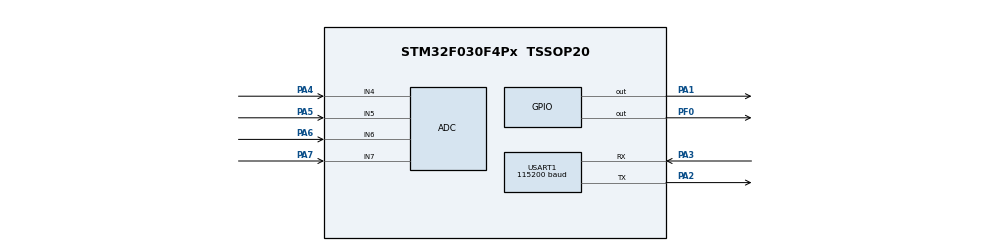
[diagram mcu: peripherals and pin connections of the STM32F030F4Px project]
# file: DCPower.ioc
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ADC.SamplingTime=ADC_SAMPLETIME_239CYCLES_5
Dma.ADC.0.Direction=DMA_PERIPH_TO_MEMORY
Dma.ADC.0.Instance=DMA1_Channel1
Dma.ADC.0.MemDataAlignment=DMA_MDATAALIGN_WORD
Dma.ADC.0.MemInc=DMA_MINC_ENABLE
Dma.ADC.0.Mode=DMA_CIRCULAR
Dma.ADC.0.PeriphDataAlignment=DMA_PDATAALIGN_WORD
Dma.ADC.0.PeriphInc=DMA_PINC_DISABLE
Dma.ADC.0.Priority=DMA_PRIORITY_HIGH
Dma.Request0=ADC
Mcu.Family=STM32F0
Mcu.Name=STM32F030F4Px
Mcu.Package=TSSOP20
NVIC.ADC1_IRQn=true\:0\:0\:false\:false\:true\:true
NVIC.DMA1_Channel1_IRQn=true\:0\:0\:false\:false\:true\:false
NVIC.USART1_IRQn=true\:0\:0\:false\:false\:true\:true
PA1.Signal=GPIO_Output
PA13.Mode=Serial_Wire
PA13.Signal=SYS_SWDIO
PA14.Mode=Serial_Wire
PA14.Signal=SYS_SWCLK
PA2.Mode=Asynchronous
PA2.Signal=USART1_TX
PA3.Mode=Asynchronous
PA3.Signal=USART1_RX
PA4.Mode=IN4
PA4.Signal=ADC_IN4
PA5.Mode=IN5
PA5.Signal=ADC_IN5
PA6.Mode=IN6
PA6.Signal=ADC_IN6
PA7.Mode=IN7
PA7.Signal=ADC_IN7
PF0-OSC_IN.Signal=GPIO_Output
ProjectManager.HeapSize=0x200
ProjectManager.StackSize=0x400
ProjectManager.TargetToolchain=MDK-ARM V5
USART1.BaudRate=115200
USART1.VirtualMode-Asynchronous=VM_ASYNC
VP_IWDG_VS_IWDG.Mode=IWDG_Activate
board=custom

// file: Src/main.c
/* USER CODE BEGIN Header */
/**
  ******************************************************************************
  * @file           : main.c
  * @brief          : Main program body
  ******************************************************************************
  ** This notice applies to any and all portions of this file
  * that are not between comment pairs USER CODE BEGIN and
  * USER CODE END. Other portions of this file, whether
  * inserted by the user or by software development tools
  * are owned by their respective copyright owners.
  *
  * COPYRIGHT(c) 2019 STMicroelectronics
  *
  * Redistribution and use in source and binary forms, with or without modification,
  * are permitted provided that the following conditions are met:
  *   1. Redistributions of source code must retain the above copyright notice,
  *      this list of conditions and the following disclaimer.
  *   2. Redistributions in binary form must reproduce the above copyright notice,
  *      this list of conditions and the following disclaimer in the documentation
  *      and/or other materials provided with the distribution.
  *   3. Neither the name of STMicroelectronics nor the names of its contributors
  *      may be used to endorse or promote products derived from this software
  *      without specific prior written permission.
  *
  * THIS SOFTWARE IS PROVIDED BY THE COPYRIGHT HOLDERS AND CONTRIBUTORS "AS IS"
  * AND ANY EXPRESS OR IMPLIED WARRANTIES, INCLUDING, BUT NOT LIMITED TO, THE
  * IMPLIED WARRANTIES OF MERCHANTABILITY AND FITNESS FOR A PARTICULAR PURPOSE ARE
  * DISCLAIMED. IN NO EVENT SHALL THE COPYRIGHT HOLDER OR CONTRIBUTORS BE LIABLE
  * FOR ANY DIRECT, INDIRECT, INCIDENTAL, SPECIAL, EXEMPLARY, OR CONSEQUENTIAL
  * DAMAGES (INCLUDING, BUT NOT LIMITED TO, PROCUREMENT OF SUBSTITUTE GOODS OR
  * SERVICES; LOSS OF USE, DATA, OR PROFITS; OR BUSINESS INTERRUPTION) HOWEVER
  * CAUSED AND ON ANY THEORY OF LIABILITY, WHETHER IN CONTRACT, STRICT LIABILITY,
  * OR TORT (INCLUDING NEGLIGENCE OR OTHERWISE) ARISING IN ANY WAY OUT OF THE USE
  * OF THIS SOFTWARE, EVEN IF ADVISED OF THE POSSIBILITY OF SUCH DAMAGE.
  *
  ******************************************************************************
  */
/* USER CODE END Header */

#include "main.h"
#include "adc.h"
#include "dma.h"
#include "iwdg.h"
#include "usart.h"
#include "gpio.h"

/* USER CODE BEGIN Includes */
#include "Modbus_svr.h"
#include "SysTick.h"
/* USER CODE END Includes */

/* USER CODE BEGIN PTD */
uint32_t Val[40] ;
uint32_t bAdcFin ;
/* USER CODE END PTD */

/* USER CODE BEGIN PV */
short ValToTemp(short val) ;
/* USER CODE END PV */

void SystemClock_Config(void);

/* USER CODE BEGIN 0 */
void  HAL_ADC_ConvCpltCallback(ADC_HandleTypeDef* hadc)																			//4
{
	mblock1.ptrRegs[10]++ ;
	bAdcFin = 1 ;
}
/* USER CODE END 0 */

int main(void)
{
  /* USER CODE BEGIN 1 */
	uint32_t sum[4] ;
	uint32_t i ;
  /* USER CODE END 1 */

  /* MCU Configuration--------------------------------------------------------*/

  /* Reset of all peripherals, Initializes the Flash interface and the Systick. */
  HAL_Init();

  /* Configure the system clock */
  SystemClock_Config();

  /* Initialize all configured peripherals */
  MX_GPIO_Init();
  MX_DMA_Init();
  MX_ADC_Init();
  MX_IWDG_Init();
  MX_USART1_UART_Init();

  /* USER CODE BEGIN 2 */
	SysTick_Init() ;
	Modbus_init() ;
	SetTimer(0, 200) ;
	SetTimer(1, 1000) ;
	SetTimer(2, 100) ;

	bAdcFin = 0 ;
	HAL_ADC_Start_DMA(&hadc, (uint32_t*)&Val, 40);
  /* USER CODE END 2 */

  /* Infinite loop */
  while (1)
  {

    /* USER CODE BEGIN 3 */
		Modbus_task() ;

		if ( bAdcFin )
		{
			for(i = 0 ; i < 4 ; i++) sum[i] = 0 ;
			for(i = 0 ; i < 40 ; i++)
			{
				sum[i % 4] += Val[i] ;
			}
			for(i = 0 ; i < 4 ; i++) mblock1.ptrRegs[4 - i] = sum[i]/10 ;

			mblock1.ptrRegs[5] = ValToTemp(mblock1.ptrRegs[4]) ;
			bAdcFin = 0 ;
		}

		if ( mblock1.ptrRegs[0] )
		{
			if ( GetTimer(0) ) 	HAL_GPIO_TogglePin(GPIOF,GPIO_PIN_0);
		}
		else
		{
			if ( GetTimer(1) ) HAL_GPIO_TogglePin(GPIOF,GPIO_PIN_0);
		}

		if ( GetTimer(2) )
		{
      HAL_IWDG_Refresh(&hiwdg);

			HAL_ADC_Start_DMA(&hadc, (uint32_t*)&Val, 40);
			if ( mblock1.ptrRegs[0] )
				HAL_GPIO_WritePin(GPIOA, GPIO_PIN_1, GPIO_PIN_SET) ;
			else
				HAL_GPIO_WritePin(GPIOA, GPIO_PIN_1, GPIO_PIN_RESET) ;
		}
  }
  /* USER CODE END 3 */
}

void SystemClock_Config(void)
{
  RCC_OscInitTypeDef RCC_OscInitStruct = {0};
  RCC_ClkInitTypeDef RCC_ClkInitStruct = {0};
  RCC_PeriphCLKInitTypeDef PeriphClkInit = {0};

  /**Initializes the CPU, AHB and APB busses clocks
  */
  RCC_OscInitStruct.OscillatorType = RCC_OSCILLATORTYPE_HSI|RCC_OSCILLATORTYPE_HSI14
                              |RCC_OSCILLATORTYPE_LSI;
  RCC_OscInitStruct.HSIState = RCC_HSI_ON;
  RCC_OscInitStruct.HSI14State = RCC_HSI14_ON;
  RCC_OscInitStruct.HSICalibrationValue = RCC_HSICALIBRATION_DEFAULT;
  RCC_OscInitStruct.HSI14CalibrationValue = 16;
  RCC_OscInitStruct.LSIState = RCC_LSI_ON;
  RCC_OscInitStruct.PLL.PLLState = RCC_PLL_NONE;
  if (HAL_RCC_OscConfig(&RCC_OscInitStruct) != HAL_OK)
  {
    Error_Handler();
  }
  /**Initializes the CPU, AHB and APB busses clocks
  */
  RCC_ClkInitStruct.ClockType = RCC_CLOCKTYPE_HCLK|RCC_CLOCKTYPE_SYSCLK
                              |RCC_CLOCKTYPE_PCLK1;
  RCC_ClkInitStruct.SYSCLKSource = RCC_SYSCLKSOURCE_HSI;
  RCC_ClkInitStruct.AHBCLKDivider = RCC_SYSCLK_DIV1;
  RCC_ClkInitStruct.APB1CLKDivider = RCC_HCLK_DIV1;

  if (HAL_RCC_ClockConfig(&RCC_ClkInitStruct, FLASH_LATENCY_0) != HAL_OK)
  {
    Error_Handler();
  }
  PeriphClkInit.PeriphClockSelection = RCC_PERIPHCLK_USART1;
  PeriphClkInit.Usart1ClockSelection = RCC_USART1CLKSOURCE_PCLK1;
  if (HAL_RCCEx_PeriphCLKConfig(&PeriphClkInit) != HAL_OK)
  {
    Error_Handler();
  }
}

/* USER CODE BEGIN 4 */
short ValToTemp(short val)
{
	short list[] = {886,922,957,993,1029,1064,1099,1134,1169,1203,1237} ;
	int i ;

	if ( val <= list[0] )
		return 0 ;
	if ( val >= 1237 )
		return 999 ;

	for(i = 1 ; i < 10 ; i++)
	{
		if ( val < list[i] )
			break ;
	}

	return ((i-1)*100 + (val - list[i-1])*100/(list[i] - list[i-1])) ;

}

/* USER CODE END 4 */

void Error_Handler(void)
{
}

/************************ (C) COPYRIGHT STMicroelectronics *****END OF FILE****/
